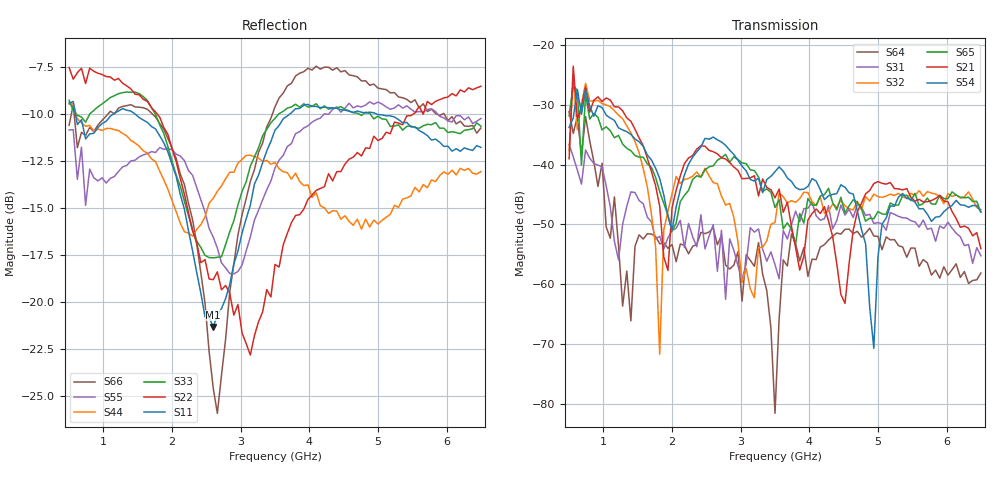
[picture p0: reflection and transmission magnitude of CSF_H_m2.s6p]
!Keysight Technologies,M9804A,MY58100912,A.14.10.03
!Date: Thursday, April 27, 2023 10:28:33
!Correction: S11(C  6-Port  )
!S12(C  6-Port  )
!S13(C  6-Port  )
!S14(C  6-Port  )
!S15(C  6-Port  )
!S16(C  6-Port  )
!S21(C  6-Port  )
!S22(C  6-Port  )
!S23(C  6-Port  )
!S24(C  6-Port  )
!S25(C  6-Port  )
!S26(C  6-Port  )
!S31(C  6-Port  )
!S32(C  6-Port  )
!S33(C  6-Port  )
!S34(C  6-Port  )
!S35(C  6-Port  )
!S36(C  6-Port  )
!S41(C  6-Port  )
!S42(C  6-Port  )
!S43(C  6-Port  )
!S44(C  6-Port  )
!S45(C  6-Port  )
!S46(C  6-Port  )
!S51(C  6-Port  )
!S52(C  6-Port  )
!S53(C  6-Port  )
!S54(C  6-Port  )
!S55(C  6-Port  )
!S56(C  6-Port  )
!S61(C  6-Port  )
!S62(C  6-Port  )
!S63(C  6-Port  )
!S64(C  6-Port  )
!S65(C  6-Port  )
!S66(C  6-Port  )
!S6P File: Measurement: :
# Hz S  RI  R 50
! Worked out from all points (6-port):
!   101 points, 500 MHz to 6.5 GHz, reference 50 ohm
!   strongest paths, dB at 500 MHz, 2 GHz, 3.5 GHz, 5 GHz, 6.5 GHz:
!     S54: -33.7, -51.0, -41.2, -55.5, -47.9
!     S21: -39.0, -47.2, -45.5, -42.8, -54.1
!     S65: -31.8, -51.2, -47.2, -47.9, -48.0
!     S32: -37.6, -44.9, -49.7, -45.3, -47.5
!     S31: -36.6, -51.0, -56.7, -49.7, -55.3
!     S64: -31.1, -53.4, -81.6, -52.0, -58.1
!   lowest |S11| = -21.3 dB at 2.6 GHz (marker M1), VSWR 1.19, Z = 42.4 + j2.28 ohm
!   |S11| at or under -10 dB: 593.4 MHz to 1.14 GHz (546.8 MHz wide, 63.1 % of centre); 1.467 GHz to 3.71 GHz (2.244 GHz wide, 86.7 % of centre); 4.991 GHz to end of sweep
